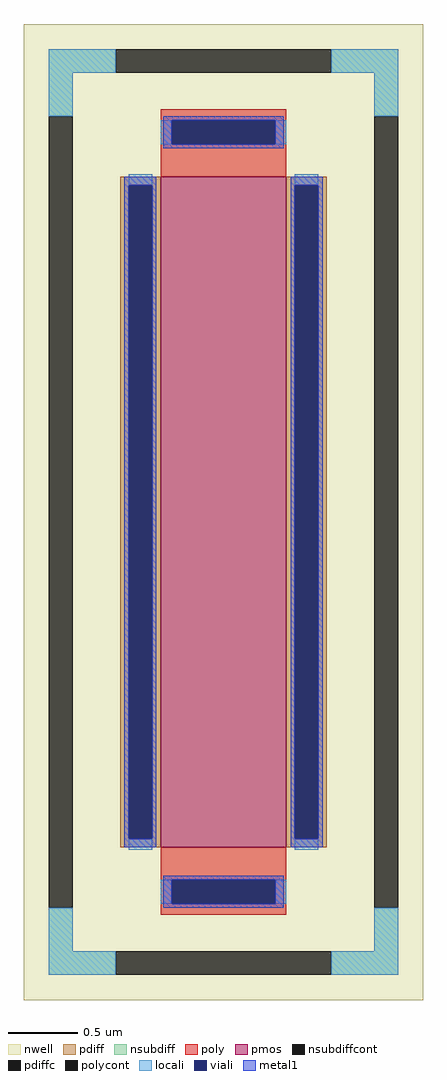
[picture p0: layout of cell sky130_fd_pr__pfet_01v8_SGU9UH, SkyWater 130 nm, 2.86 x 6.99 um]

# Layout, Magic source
magic
tech sky130A
magscale 1 2
<< nwell >>
rect -286 -699 286 699
<< pmos >>
rect -90 -480 90 480
<< pdiff >>
rect -148 468 -90 480
rect -148 -468 -136 468
rect -102 -468 -90 468
rect -148 -480 -90 -468
rect 90 468 148 480
rect 90 -468 102 468
rect 136 -468 148 468
rect 90 -480 148 -468
<< pdiffc >>
rect -136 -468 -102 468
rect 102 -468 136 468
<< nsubdiff >>
rect -250 629 -154 663
rect 154 629 250 663
rect -250 567 -216 629
rect 216 567 250 629
rect -250 -629 -216 -567
rect 216 -629 250 -567
rect -250 -663 -154 -629
rect 154 -663 250 -629
<< nsubdiffcont >>
rect -154 629 154 663
rect -250 -567 -216 567
rect 216 -567 250 567
rect -154 -663 154 -629
<< poly >>
rect -90 561 90 577
rect -90 527 -74 561
rect 74 527 90 561
rect -90 480 90 527
rect -90 -527 90 -480
rect -90 -561 -74 -527
rect 74 -561 90 -527
rect -90 -577 90 -561
<< polycont >>
rect -74 527 74 561
rect -74 -561 74 -527
<< locali >>
rect -250 629 -154 663
rect 154 629 250 663
rect -250 567 -216 629
rect 216 567 250 629
rect -90 527 -74 561
rect 74 527 90 561
rect -136 468 -102 484
rect -136 -484 -102 -468
rect 102 468 136 484
rect 102 -484 136 -468
rect -90 -561 -74 -527
rect 74 -561 90 -527
rect -250 -629 -216 -567
rect 216 -629 250 -567
rect -250 -663 -154 -629
rect 154 -663 250 -629
<< viali >>
rect -74 527 74 561
rect -136 -468 -102 468
rect 102 -468 136 468
rect -74 -561 74 -527
<< metal1 >>
rect -86 561 86 567
rect -86 527 -74 561
rect 74 527 86 561
rect -86 521 86 527
rect -142 468 -96 480
rect -142 -468 -136 468
rect -102 -468 -96 468
rect -142 -480 -96 -468
rect 96 468 142 480
rect 96 -468 102 468
rect 136 -468 142 468
rect 96 -480 142 -468
rect -86 -527 86 -521
rect -86 -561 -74 -527
rect 74 -561 86 -527
rect -86 -567 86 -561
<< properties >>
string FIXED_BBOX -233 -646 233 646
string gencell sky130_fd_pr__pfet_01v8
string library sky130
string parameters w 4.8 l 0.9 m 1 nf 1 diffcov 100 polycov 100 guard 1 glc 1 grc 1 gtc 1 gbc 1 tbcov 100 rlcov 100 topc 1 botc 1 poverlap 0 doverlap 1 lmin 0.15 wmin 0.42 compatible {sky130_fd_pr__pfet_01v8  sky130_fd_pr__pfet_01v8_lvt sky130_fd_pr__pfet_01v8_hvt  sky130_fd_pr__pfet_g5v0d10v5} full_metal 1 viasrc 100 viadrn 100 viagate 100 viagb 0 viagr 0 viagl 0 viagt 0
<< end >>
